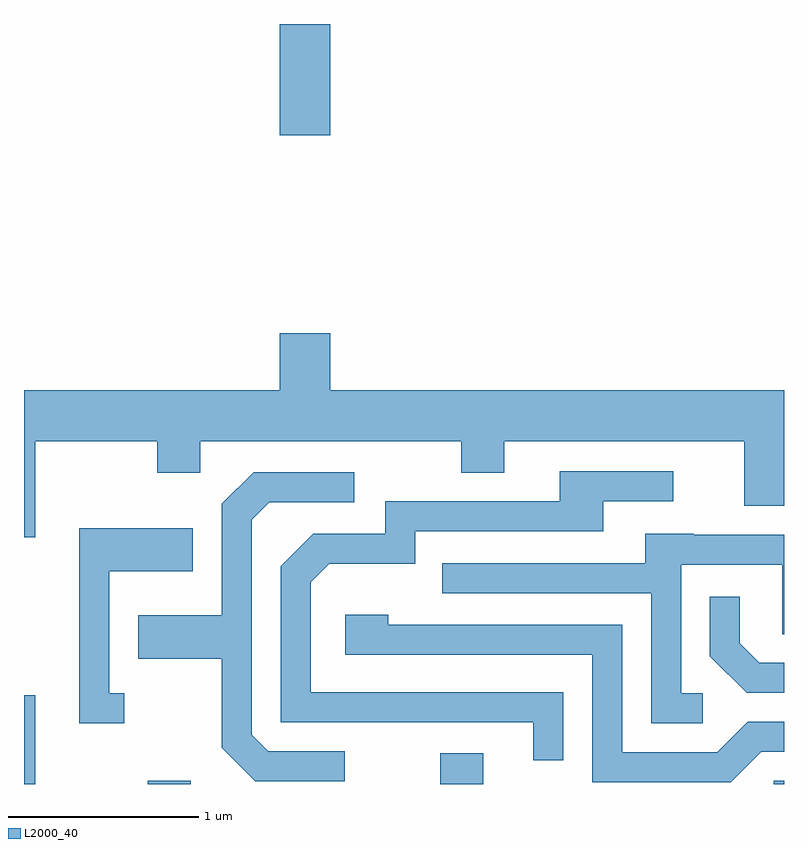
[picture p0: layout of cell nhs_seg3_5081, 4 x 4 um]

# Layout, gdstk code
import gdstk
lib = gdstk.Library(unit=1e-6, precision=1e-09)
def R(c, l, rs):  # rectangles x0, y0, x1, y1
    for r in rs: c.add(gdstk.rectangle(r[:2], r[2:], *l))
def P(c, l, *ps):  # polygons
    for p in ps: c.add(gdstk.Polygon(p, *l))
L2000_40 = (2000, 40)

nhs_seg3_5081 = lib.new_cell('nhs_seg3_5081')
R(nhs_seg3_5081, L2000_40, [(333.611,1221.892,333.669,1222.359), (334.261,1221.892,334.489,1221.909), (335.801,1221.892,336.029,1222.054), (337.556,1221.892,337.611,1221.909), (334.956,1225.306,335.224,1225.892)])
P(nhs_seg3_5081, L2000_40, [(333.669,1223.696),(334.311,1223.696),(334.311,1223.531),(334.539,1223.531),(334.539,1223.696),(335.911,1223.696),(335.911,1223.531),(336.139,1223.531),(336.139,1223.696),(337.401,1223.696),(337.401,1223.356),(337.611,1223.356),(337.611,1223.964),(335.224,1223.964),(335.224,1224.264),(334.956,1224.264),(334.956,1223.964),(333.611,1223.964),(333.611,1223.191),(333.669,1223.191)],
  [(336.449,1222.374),(335.119,1222.374),(335.119,1222.954),(335.217,1223.051),(335.669,1223.051),(335.669,1223.221),(336.659,1223.221),(336.659,1223.381),(337.028,1223.381),(337.028,1223.539),(336.431,1223.539),(336.431,1223.379),(335.511,1223.379),(335.511,1223.209),(335.134,1223.209),(334.961,1223.037),(334.961,1222.216),(336.291,1222.216),(336.291,1222.018),(336.449,1222.018)],
  [(335.298,1222.064),(334.897,1222.064),(334.809,1222.152),(334.809,1223.284),(334.902,1223.376),(335.348,1223.376),(335.348,1223.534),(334.819,1223.534),(334.651,1223.367),(334.651,1222.779),(334.211,1222.779),(334.211,1222.551),(334.651,1222.551),(334.651,1222.084),(334.829,1221.906),(335.298,1221.906)],
  [(334.138,1222.369),(334.059,1222.369),(334.059,1223.011),(334.499,1223.011),(334.499,1223.239),(333.901,1223.239),(333.901,1222.211),(334.138,1222.211)],
  [(337.183,1222.369),(337.069,1222.369),(337.069,1223.046),(337.601,1223.046),(337.601,1222.681),(337.611,1222.681),(337.611,1223.204),(337.135,1223.204),(337.135,1223.209),(336.881,1223.209),(336.881,1223.054),(335.813,1223.054),(335.813,1222.896),(336.911,1222.896),(336.911,1222.211),(337.183,1222.211)],
  [(337.611,1222.529),(337.482,1222.529),(337.379,1222.632),(337.379,1222.878),(337.221,1222.878),(337.221,1222.564),(337.414,1222.371),(337.611,1222.371)],
  [(337.492,1222.061),(337.611,1222.061),(337.611,1222.219),(337.419,1222.219),(337.259,1222.059),(336.759,1222.059),(336.759,1222.729),(335.529,1222.729),(335.529,1222.784),(335.301,1222.784),(335.301,1222.571),(336.601,1222.571),(336.601,1221.901),(337.332,1221.901)])

lib.write_gds('nhs_seg3_5081.gds')
